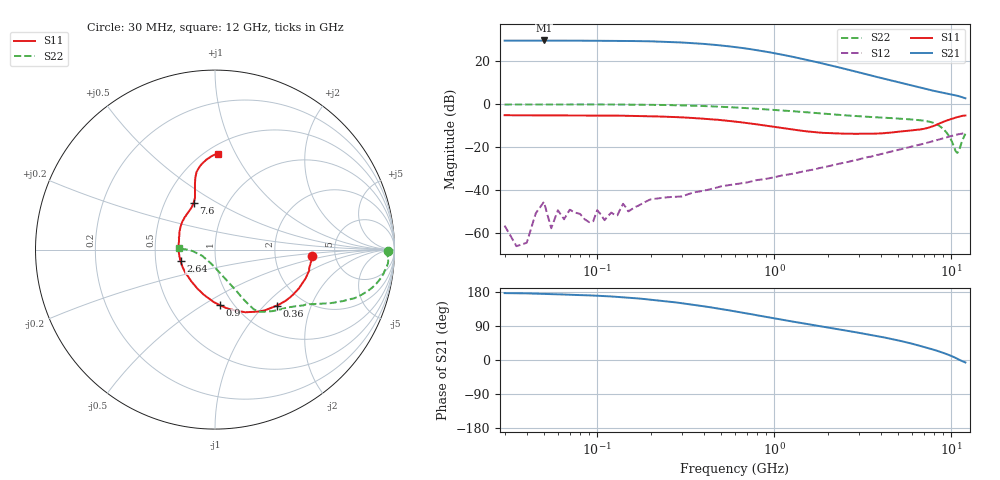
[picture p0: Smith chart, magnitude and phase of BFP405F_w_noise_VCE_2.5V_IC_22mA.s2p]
! Infineon Technologies  Discrete & RF Semiconductors
! BFP405F
! VCE =  2.5 V,  IC =  22 mA
! Common Emitter S-Parameters:  Nov 2015
# GHz  S  MA  R  50
!  f  S11  S21  S12  S22
! GHz  MAG  ANG  MAG  ANG  MAG  ANG  MAG  ANG
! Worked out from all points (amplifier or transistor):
!   239 points, 30 MHz to 12 GHz, reference 50 ohm
!   highest |S21| = 29.4 dB at 50 MHz (marker M1)
!   |S21| within 3 dB of that: start of sweep to 591.7 MHz
!   unconditionally stable (mu >= 1): start of sweep to 40.12 MHz; 1.523 GHz to end of sweep
!   at 300 MHz: K = 0.39, MSG = 35.7 dB, |S12| = -43.0 dB
!   at 1.88 GHz: K = 1.12, MAG = 22.0 dB, |S12| = -29.5 dB
!   at 12 GHz: K = 1.40, MAG = 4.3 dB, |S12| = -13.6 dB
!   lowest NFmin = 2.34 dB at 450 MHz
!   S11 on the Smith chart (normalised r, x): 30 MHz: 3.35, -0.34; 360 MHz: 1.49, -1.18; 900 MHz: 0.87, -0.59; 2.64 GHz: 0.67, -0.09; 7.6 GHz: 0.69, +0.40; 12 GHz: 0.57, +0.85
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0.03  0.5444 -3.8  29.21 176.5  0.0015 -27.7  0.9619 -0.4
0.04  0.5387 -4.9  29.27 175.8  0.0006 139.7  0.962 -0.6
0.05  0.5413 -6.5  29.45 174.4  0.0053 139.7  0.9671 -0.9
0.055  0.5395 -7.1  29.34 174.0  0.0013 106.4  0.9665 -1.4
0.06  0.5378 -7.8  29.24 173.5  0.0034 -14.8  0.966 -1.9
0.085  0.5351 -10.8  29.08 170.9  0.0021 36.5  0.9678 -2.8
0.15  0.5262 -19.0  28.67 164.7  0.0032 87.6  0.9574 -6.0
0.2  0.515 -24.8  28.14 159.2  0.0061 79.1  0.9495 -8.0
0.24  0.5034 -29.5  27.38 155.5  0.0067 80.7  0.9387 -9.6
0.3  0.4862 -35.9  26.42 149.9  0.0071 73.8  0.9206 -11.7
0.36  0.4645 -42.2  25.24 144.9  0.009 77.3  0.901 -13.6
0.45  0.4367 -51.0  23.54 138.0  0.0108 74.6  0.8709 -16.0
0.6  0.3879 -64.2  20.71 128.1  0.0137 68.7  0.8231 -19.2
0.7  0.3589 -71.3  19.07 122.8  0.015 71.4  0.7939 -20.6
0.9  0.3108 -85.0  16.15 113.6  0.0182 69.7  0.7437 -23.1
1.2  0.2615 -103.1  12.9 103.4  0.0229 71.6  0.685 -26.0
1.64  0.2229 -125.0  9.782 92.7  0.0296 71.3  0.6221 -29.2
2.64  0.2021 -161.7  6.117 76.4  0.0454 69.8  0.5326 -36.8
4.5  0.2147 158.2  3.529 56.5  0.0772 64.0  0.4693 -46.9
7.6  0.288 114.4  2.089 29.8  0.1307 50.9  0.3805 -57.6
10.8  0.4908 97.4  1.537 3.3  0.1946 32.1  0.0728 -131.7
12  0.5351 88.2  1.342 -6.5  0.2097 25.1  0.2021 178.0
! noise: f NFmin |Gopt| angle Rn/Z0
0.45  2.34  0.01  -136  0.48
0.9  2.36  0.03  -135  0.34
1.5  2.42  0.05  -131  0.37
1.9  2.49  0.07  -128  0.44
2.4  2.64  0.08  -126  0.18
3  2.75  0.1  -123  0.2
3.5  2.84  0.11  -120  0.29
4.5  3.11  0.16  -106  0.54
5.5  3.47  0.29  -88  0.55
